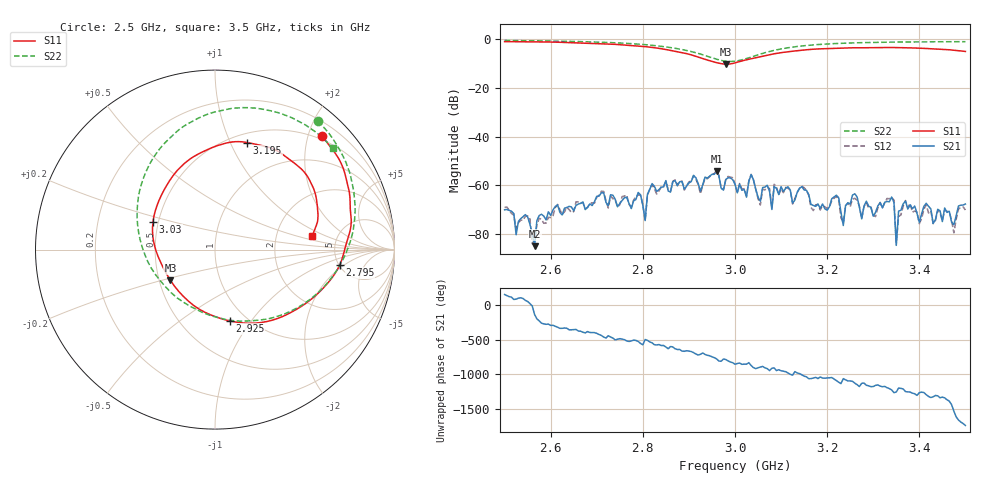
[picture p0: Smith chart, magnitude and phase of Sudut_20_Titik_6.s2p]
# Hz S RI R 50
! CMT, C1220, 16058040, 17.2.0/1
! Date: 15/08/2018 10:15:05
! Data: Format (Calibration Info)
! Freq  S11: Re/Im (F2)  S21: Re/Im (F2)  S12: Re/Im (F2)  S22: Re/Im (F2)
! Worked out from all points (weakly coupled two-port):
!   201 points, 2.5 GHz to 3.5 GHz, reference 50 ohm
!   highest |S21| = -54.17 dB at 2.96 GHz (marker M1); lowest = -84.8 dB at 2.565 GHz (marker M2)
!   lowest |S11| = -10.4 dB at 2.98 GHz (marker M3), VSWR 1.86, Z = 28.6 - j10.8 ohm
!   |S11| at or under -10 dB: 2.964 GHz to 2.998 GHz (34.21 MHz wide, 1.15 % of centre)
!   |S22| runs from -9.3 to -0.7 dB; largest |S21 - S12| = 0.00014
!   S11 on the Smith chart (normalised r, x): 2.5 GHz: 0.43, +2.25; 2.795 GHz: 5.10, -1.69; 2.925 GHz: 0.83, -0.79; 3.03 GHz: 0.47, +0.17; 3.195 GHz: 0.59, +1.16; 3.5 GHz: 3.24, +0.71
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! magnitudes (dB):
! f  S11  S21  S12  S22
! 2.5 GHz  -1.2  -69.9  -69.0  -0.7
! 2.565 GHz  -1.3  -84.8  -82.4  -0.9
! 2.67 GHz  -1.8  -66.7  -67.0  -1.2
! 2.795 GHz  -3.1  -63.9  -63.9  -2.3
! 2.805 GHz  -3.3  -74.4  -74.4  -2.5
! 2.82 GHz  -3.6  -59.2  -59.6  -2.7
! 2.835 GHz  -4.0  -61.7  -62.2  -3.0
! 2.925 GHz  -7.8  -62.3  -63.4  -6.3
! 2.96 GHz  -9.8  -54.2  -53.9  -8.4
! 2.98 GHz  -10.4  -57.6  -57.5  -9.2
! 3 GHz  -9.9  -59.5  -59.5  -9.2
! 3.03 GHz  -8.4  -58.3  -58.1  -7.8
! 3.08 GHz  -6.4  -69.8  -68.9  -5.0
! 3.145 GHz  -4.7  -60.5  -60.2  -3.0
! 3.17 GHz  -4.3  -68.2  -70.3  -2.6
! 3.195 GHz  -4.1  -69.5  -68.8  -2.3
! 3.335 GHz  -3.6  -66.7  -65.4  -1.4
! 3.345 GHz  -3.6  -66.9  -66.0  -1.4
! 3.35 GHz  -3.7  -84.5  -83.7  -1.4
! 3.37 GHz  -3.7  -66.4  -66.2  -1.4
! 3.475 GHz  -4.7  -76.0  -79.4  -1.3
! 3.5 GHz  -5.2  -67.6  -70.0  -1.3
